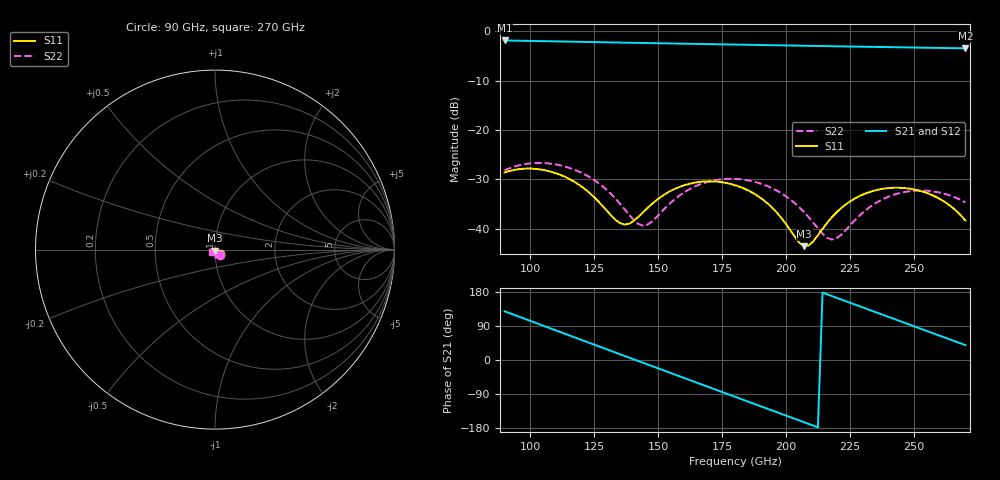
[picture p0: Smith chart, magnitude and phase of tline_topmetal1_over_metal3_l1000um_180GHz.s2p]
#  GHZ S DB R 50
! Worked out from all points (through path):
!   101 points, 90 GHz to 270 GHz, reference 50 ohm
!   highest |S21| = -1.90 dB at 90 GHz (marker M1); lowest = -3.5 dB at 270 GHz (marker M2)
!   group delay of S21, straight-line fit = 6.93 ps
!   lowest |S11| = -43.5 dB at 207 GHz (marker M3), VSWR 1.01, Z = 50.1 - j0.662 ohm
!   |S11| at or under -10 dB: start of sweep to end of sweep
!   |S22| runs from -42.1 to -26.7 dB; largest |S21 - S12| = 1.3e-13
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90  -28.57 -41.5  -1.90 128.5  -1.90 128.5  -28.15 -44.4
97.2  -27.83 -54.6  -1.97 110.4  -1.97 110.4  -26.96 -58.1
104.4  -28.00 -68.5  -2.04 92.2  -2.04 92.2  -26.66 -73.0
111.6  -29.02 -81.7  -2.10 74.1  -2.10 74.1  -27.12 -87.9
120.6  -31.64 -95.0  -2.19 51.5  -2.19 51.5  -28.79 -105.2
129.6  -36.11 -95.5  -2.28 29.0  -2.28 29.0  -31.98 -118.1
136.8  -39.12 -69.0  -2.34 10.9  -2.34 10.9  -35.96 -117.6
144  -36.67 -42.2  -2.41 -7.1  -2.41 -7.1  -39.33 -89.4
151.2  -33.47 -40.9  -2.47 -25.1  -2.47 -25.1  -36.60 -60.9
165.6  -30.53 -62.2  -2.60 -61.1  -2.60 -61.1  -31.13 -69.6
172.8  -30.43 -75.8  -2.67 -79.1  -2.67 -79.1  -30.09 -82.4
180  -31.15 -89.6  -2.73 -97.1  -2.73 -97.1  -29.87 -96.4
192.6  -34.79 -109.9  -2.84 -128.5  -2.84 -128.5  -31.32 -120.5
207  -43.48 -80.5  -2.97 -164.3  -2.97 -164.3  -36.60 -137.8
210.6  -42.49 -55.1  -3.00 -173.3  -3.00 -173.3  -38.75 -135.4
216  -38.75 -40.2  -3.05 173.3  -3.05 173.3  -41.78 -116.7
219.6  -36.67 -40.2  -3.08 164.3  -3.08 164.3  -41.92 -95.7
230.4  -32.94 -54.9  -3.17 137.5  -3.17 137.5  -36.48 -74.6
241.2  -31.69 -76.1  -3.26 110.7  -3.26 110.7  -33.23 -88.1
255.6  -32.86 -106.0  -3.38 74.9  -3.38 74.9  -32.30 -115.4
262.8  -34.84 -119.9  -3.44 57.1  -3.44 57.1  -33.03 -129.4
270  -38.29 -130.3  -3.50 39.2  -3.50 39.2  -34.64 -142.5
